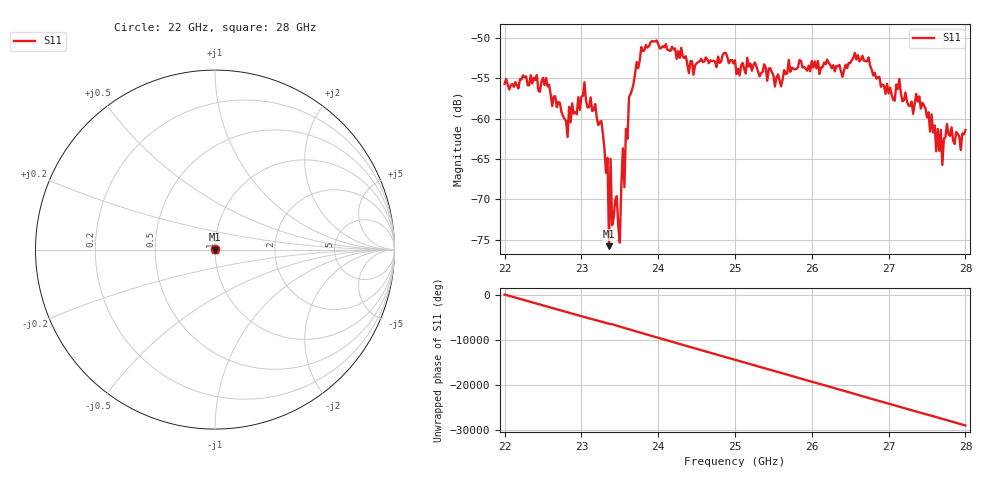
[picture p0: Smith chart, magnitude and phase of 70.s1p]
#  HZ  S  RI  R  50.00
! Rohde & Schwarz ZVA40 4Ports - Version 3.90 - 1145.1110k42 SN: 100403
! Date: 2023-10-04 08:55:43
! Measurement: S12
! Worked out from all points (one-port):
!   301 points, 22 GHz to 28 GHz, reference 50 ohm
!   lowest |S11| = -75.8 dB at 23.36 GHz (marker M1), VSWR 1.00, Z = 50 + j0.0082 ohm
!   |S11| at or under -10 dB: start of sweep to end of sweep
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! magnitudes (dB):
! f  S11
! 22 GHz  -55.7
! 22.54 GHz  -55.0
! 22.76 GHz  -59.7
! 22.82 GHz  -62.3
! 22.84 GHz  -58.5
! 23.04 GHz  -55.5
! 23.26 GHz  -60.3
! 23.34 GHz  -64.9
! 23.36 GHz  -75.8
! 23.38 GHz  -65.0
! 23.4 GHz  -73.2
! 23.46 GHz  -69.6
! 23.5 GHz  -75.3
! 23.54 GHz  -63.7
! 23.56 GHz  -68.5
! 23.58 GHz  -61.3
! 23.6 GHz  -62.5
! 23.62 GHz  -57.3
! 23.72 GHz  -53.0
! 24.26 GHz  -51.6
! 25 GHz  -52.8
! 25.76 GHz  -53.8
! 26.5 GHz  -53.1
! 27.26 GHz  -58.4
! 27.68 GHz  -61.4
! 27.7 GHz  -65.7
! 27.76 GHz  -60.7
! 28 GHz  -61.4
